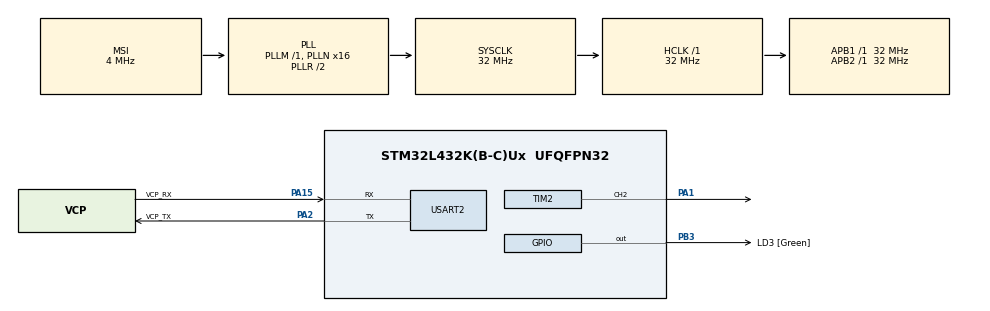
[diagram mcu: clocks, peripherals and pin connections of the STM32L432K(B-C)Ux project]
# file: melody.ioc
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Mcu.Family=STM32L4
Mcu.Name=STM32L432K(B-C)Ux
Mcu.Package=UFQFPN32
NVIC.PriorityGroup=NVIC_PRIORITYGROUP_4
PA0.GPIO_Label=MCO [High speed clock in]
PA0.Mode=HSE-External-Clock-Source-for-LittleOrca
PA0.Signal=RCC_CK_IN
PA1.Signal=S_TIM2_CH2
PA13\ (JTMS-SWDIO).GPIO_Label=SWDIO
PA13\ (JTMS-SWDIO).Mode=Serial_Wire
PA13\ (JTMS-SWDIO).Signal=SYS_JTMS-SWDIO
PA14\ (JTCK-SWCLK).GPIO_Label=SWCLK
PA14\ (JTCK-SWCLK).Mode=Serial_Wire
PA14\ (JTCK-SWCLK).Signal=SYS_JTCK-SWCLK
PA15\ (JTDI).GPIO_Label=VCP_RX
PA15\ (JTDI).Mode=Asynchronous
PA15\ (JTDI).Signal=USART2_RX
PA2.GPIO_Label=VCP_TX
PA2.Mode=Asynchronous
PA2.Signal=USART2_TX
PB3\ (JTDO-TRACESWO).GPIO_Label=LD3 [Green]
PB3\ (JTDO-TRACESWO).Signal=GPIO_Output
PC14-OSC32_IN\ (PC14).Mode=LSE-External-Oscillator
PC14-OSC32_IN\ (PC14).Signal=RCC_OSC32_IN
PC15-OSC32_OUT\ (PC15).Mode=LSE-External-Oscillator
PC15-OSC32_OUT\ (PC15).Signal=RCC_OSC32_OUT
ProjectManager.HeapSize=0x200
ProjectManager.StackSize=0x400
ProjectManager.TargetToolchain=Makefile
RCC.AHBFreq_Value=32000000
RCC.APB1Freq_Value=32000000
RCC.APB1TimFreq_Value=32000000
RCC.APB2Freq_Value=32000000
RCC.APB2TimFreq_Value=32000000
RCC.CortexFreq_Value=32000000
RCC.HCLKFreq_Value=32000000
RCC.HSE_VALUE=8000000
RCC.HSI16_VALUE=16000000
RCC.HSI48_VALUE=48000000
RCC.HSI_VALUE=16000000
RCC.MSI_VALUE=4000000
RCC.PLLMUL=RCC_PLLMUL_4
RCC.PLLN=16
RCC.SYSCLKFreq_VALUE=32000000
RCC.SYSCLKSource=RCC_SYSCLKSOURCE_PLLCLK
RCC.VCOOutputFreq_Value=64000000
SH.S_TIM2_CH2.0=TIM2_CH2,PWM Generation2 CH2
TIM2.Channel-PWM\ Generation2\ CH2=TIM_CHANNEL_2
TIM2.Period=0
TIM2.Prescaler=0
TIM2.Pulse-PWM\ Generation2\ CH2=0
USART2.VirtualMode-Asynchronous=VM_ASYNC
board=NUCLEO-L432KC

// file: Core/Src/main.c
/* USER CODE BEGIN Header */
/**
  ******************************************************************************
  * @file           : main.c
  * @brief          : Main program body
  ******************************************************************************
  * @attention
  *
  * <h2><center>&copy; Copyright (c) 2021 STMicroelectronics.
  * All rights reserved.</center></h2>
  *
  * This software component is licensed by ST under BSD 3-Clause license,
  * the "License"; You may not use this file except in compliance with the
  * License. You may obtain a copy of the License at:
  *                        opensource.org/licenses/BSD-3-Clause
  *
  ******************************************************************************
  */
/* USER CODE END Header */
#include "main.h"

/* USER CODE BEGIN PD */
#define NOTE_C3 131
#define NOTE_C3_S 138
#define NOTE_D3 147
#define NOTE_D3_S 155
#define NOTE_E3 165
#define NOTE_F3 174
#define NOTE_F3_S 185
#define NOTE_G3 196
#define NOTE_G3_S 207
#define NOTE_A3 220
#define NOTE_A3_S 233
#define NOTE_H3 247
#define NOTE_C4 261
#define NOTE_C4_S 277
#define NOTE_D4 293
#define NOTE_D4_S 311
#define NOTE_E4 329
#define NOTE_F4 349
#define NOTE_F4_S 370
#define NOTE_G4 392
#define NOTE_G4_S 415
#define NOTE_A4 440
#define NOTE_A4_S 466
#define NOTE_H4 494
#define NOTE_C5 523
#define NOTE_C5_S 554
#define NOTE_D5 587
#define NOTE_D5_S 622
#define NOTE_E5 659
#define NOTE_F5 698
#define NOTE_F5_S 740
#define NOTE_G5 784
#define NOTE_G5_S 830
#define NOTE_A5 880
#define NOTE_A5_S 932
#define NOTE_H5 988

/* USER CODE END PD */

TIM_HandleTypeDef htim2;

UART_HandleTypeDef huart2;

/* USER CODE BEGIN PV */
int clock = 32000000;
int frequency;
int ACC;
int CCR;
int note;
int rythm;
int tempo;
int wholenote;
int divide;
int duration;
/* USER CODE END PV */

void SystemClock_Config(void);
static void MX_GPIO_Init(void);
static void MX_TIM2_Init(void);
static void MX_USART2_UART_Init(void);

/* USER CODE BEGIN 0 */
void frequency_change(int note) {
  ACC = clock/note;
  CCR = ACC/2;
  __HAL_TIM_SET_COUNTER(&htim2, 0);
  __HAL_TIM_SET_AUTORELOAD(&htim2, ACC);
  __HAL_TIM_SET_COMPARE(&htim2, TIM_CHANNEL_2, CCR);
};

void play_note(int rythm) {
  wholenote = 240000 / tempo;
  if(rythm <= 16 && rythm >= 0){
    duration = wholenote / rythm;
  }else if(rythm < 0){
    duration = wholenote / abs(rythm);
    duration *= 1.5;
  }else{
    duration = wholenote * 10 / rythm;
    duration *= 0.5;
  }
  HAL_TIM_PWM_Start(&htim2, TIM_CHANNEL_2);
  HAL_Delay(duration*0.9);
  HAL_TIM_PWM_Stop(&htim2, TIM_CHANNEL_2);
  HAL_Delay(duration);
};

void play(int note, int rythm){
	frequency_change(note);
	play_note(rythm);
};

void godfather(){
  tempo = 100;

  play(NOTE_E4, 8);
	play(NOTE_A4, 8);
	play(NOTE_C5, 8);
  play(NOTE_H4, 8);
	play(NOTE_A4, 8);
	play(NOTE_C5, 8);
  play(NOTE_A4, 8);
  play(NOTE_H4, 8);
  play(NOTE_A4, 8);
  play(NOTE_F4, 8);
  play(NOTE_G4, 8);
  play(NOTE_E4, 8);
  play(0, 6);
  play(NOTE_E4, 8);
  play(NOTE_A4, 8);
  play(NOTE_C5, 8);
  play(NOTE_H4, 8);
  play(NOTE_A4, 8);
  play(NOTE_C5, 8);
  play(NOTE_A4, 8);
  play(NOTE_C5, 8);
  play(NOTE_A4, 8);
  play(NOTE_E4, 8);
  play(NOTE_D4_S, 8);

  play(NOTE_D4, 8);
  play(NOTE_D4, 8);
  play(NOTE_F4, 8);
  play(NOTE_G4_S, 8);
  play(NOTE_H4, 8);
  play(NOTE_D4, 8);
  play(NOTE_F4, 8);
  play(NOTE_G4_S, 8);
  play(NOTE_A4, 8);
  play(NOTE_C4, 8);
  play(NOTE_C4, 8);
  play(NOTE_G4, 8);
  play(NOTE_F4, 8);
  play(NOTE_E4, 8);
  play(NOTE_G4, 8);
  play(NOTE_F4, 8);
  play(NOTE_F4, 8);
  play(NOTE_E4, 8);
  play(NOTE_E4, 8);
  play(NOTE_G4_S, 8);

  play(NOTE_A4, 8);

}

void monkey_island(){
  tempo = 120;
  play(NOTE_H4,4);
  play(NOTE_H4,40);
  play(NOTE_D5,40);
  play(NOTE_C5_S,40);
  play(NOTE_H4,40);
  play(NOTE_A4,4);
  play(NOTE_H4,-1);
  play(NOTE_A4,4);
  play(NOTE_A4,40);
  play(NOTE_G4,40);
  play(NOTE_F4_S,40);
  play(NOTE_A4,40);
  play(NOTE_G4,4);
  play(NOTE_G4,4);
  play(NOTE_F4_S,-2);
  play(NOTE_H4,4);
  play(NOTE_H4,-4);
  play(NOTE_D5,8);
  play(NOTE_C5_S,40);
  play(NOTE_H4,40);
  play(NOTE_A4,4);
  play(NOTE_H4,-2);
  play(0,8);
  play(NOTE_C5_S,8);
  play(NOTE_D5,4);
  play(NOTE_D5,4);
  play(NOTE_E5,2);

  play(NOTE_C5_S,-4);
  play(NOTE_D5,8);
  play(NOTE_C5_S,40);
  play(NOTE_H4,40);
  play(NOTE_A4,40);
  play(NOTE_C5_S,40);
  play(NOTE_D5,4);
  play(NOTE_D5,4);
  play(NOTE_C5_S,2);
  play(NOTE_H4,-4);
  play(NOTE_D5,8);
  play(NOTE_C5_S,40);
  play(NOTE_H4,40);
  play(NOTE_A4,40);
  play(NOTE_C5_S,40);
  play(NOTE_D5,4);
  play(NOTE_D5,4);
  play(NOTE_C5_S,2);
  play(NOTE_H4,-4);
  play(NOTE_D5,8);
  play(NOTE_C5_S,40);
  play(NOTE_H4,40);
  play(NOTE_A4,40);
  play(NOTE_C5_S,40);
  play(NOTE_D5,4);
  play(NOTE_D5,4);
  play(NOTE_C5_S,2);
  play(NOTE_H4,-4);
  play(NOTE_D5,8);
  play(NOTE_C5_S,40);
  play(NOTE_H4,40);
  play(NOTE_A4,4);
  play(NOTE_H4,4);
  play(NOTE_H4,4);
  play(NOTE_H4,2);
  play(NOTE_H4,-2);
  play(NOTE_H4,8);
  play(NOTE_A4,40);
  play(NOTE_G4,40);
  play(NOTE_F4_S,40);
  play(NOTE_A4,40);

  play(NOTE_G4,4);
  play(NOTE_G4,4);
  play(NOTE_F4_S,2);
  play(NOTE_F4_S,1);
  play(0,1);
  play(NOTE_F4_S,4);
  play(NOTE_A4,4);
  play(NOTE_H4,4);
  play(NOTE_D5,4);
  play(NOTE_D5,2);
  play(NOTE_G5,40);
  play(NOTE_F5_S,40);
  play(NOTE_E5,40);
  play(NOTE_G5,40);
  play(NOTE_F5_S,4);
  play(NOTE_D5,4);
  play(NOTE_D5,2);
  play(0,8);
  play(NOTE_D5,-4);
  play(NOTE_E5,4);
  play(NOTE_A4,4);

  play(NOTE_A4,-4);
  play(NOTE_E5,8);
  play(NOTE_F5_S,40);
  play(NOTE_E5,40);
  play(NOTE_D5,40);
  play(NOTE_E5,40);
  play(NOTE_F5_S,4);
  play(NOTE_D5,4);
  play(NOTE_D5,4);
  play(NOTE_H4,4);
  play(NOTE_H4,2);
  play(NOTE_C5_S,4);
  play(NOTE_D5,4);
  play(NOTE_E5,1);
  play(NOTE_E5,2);
  play(NOTE_E5,2);
  play(NOTE_H4,1);
  play(NOTE_H4,2);

};

void imperial_march() {
  tempo = 120;
	play(NOTE_A4, 6);
	play(NOTE_A4, 6);
	play(NOTE_A4, 16);
  play(NOTE_A4, 16);
	play(NOTE_A4, 16);
	play(NOTE_A4, 16);
  play(NOTE_F4, 8);
  play(0, 8);
	play(NOTE_A4, 6);
	play(NOTE_A4, 6);
	play(NOTE_A4, 16);
  play(NOTE_A4, 16);
	play(NOTE_A4, 16);
	play(NOTE_A4, 16);
  play(NOTE_F4, 8);
  play(0, 8);
  play(NOTE_A4, 4);
  play(NOTE_A4, 4);
  play(NOTE_A4, 4);
  play(NOTE_F4, 12);
  play(NOTE_C5, 16);

  play(NOTE_A4, 4);
  play(NOTE_F4, 12);
  play(NOTE_C5, 16);
  play(NOTE_A4, 2);
  play(NOTE_E5, 4);
  play(NOTE_E5, 4);
  play(NOTE_E5, 4);
  play(NOTE_F5, 12);
  play(NOTE_C5, 16);
  play(NOTE_A4, 4);
  play(NOTE_F4, 12);
  play(NOTE_C5, 16);
  play(NOTE_A4, 2);

  play(NOTE_A5, 4);
  play(NOTE_A4, 12);
  play(NOTE_A4, 16);
  play(NOTE_A5, 4);
  play(NOTE_G5_S, 12);
  play(NOTE_G5, 16);
  play(NOTE_D5_S, 16);
  play(NOTE_D5, 16);
  play(NOTE_D5_S, 8);
  play(0, 8);
  play(NOTE_A4, 8);
  play(NOTE_D5_S, 4);
  play(NOTE_D5, 12);
  play(NOTE_C5_S, 16);

  play(NOTE_C5, 16);
  play(NOTE_H4, 16);
  play(NOTE_C5, 16);
  play(0, 8);
  play(NOTE_F4, 8);
  play(NOTE_G4_S, 4);
  play(NOTE_F4, 12);
  play(NOTE_A4, 24);
  play(NOTE_C5, 4);
  play(NOTE_A4, 12);
  play(NOTE_C5, 16);
  play(NOTE_E5, 2);

  play(NOTE_A5, 4);
  play(NOTE_A4, 12);
  play(NOTE_A4, 16);
  play(NOTE_A5, 4);
  play(NOTE_G5_S, 12);
  play(NOTE_G5, 16);
  play(NOTE_D5_S, 16);
  play(NOTE_D5, 16);
  play(NOTE_D5_S, 8);
  play(0, 8);
  play(NOTE_A4, 8);
  play(NOTE_D5_S, 4);
  play(NOTE_D5, 12);
  play(NOTE_C5_S, 16);

  play(NOTE_C5, 16);
  play(NOTE_H4, 16);
  play(NOTE_C5, 16);
  play(0, 8);
  play(NOTE_F4, 8);
  play(NOTE_G4_S, 4);
  play(NOTE_F4, 12);
  play(NOTE_A4, 24);
  play(NOTE_C5, 4);
  play(NOTE_A4, 12);
  play(NOTE_C5, 16);
  play(NOTE_E5, 2);

};

/* USER CODE END 0 */

int main(void)
{

  /* MCU Configuration--------------------------------------------------------*/

  /* Reset of all peripherals, Initializes the Flash interface and the Systick. */
  HAL_Init();

  /* Configure the system clock */
  SystemClock_Config();

  /* Initialize all configured peripherals */
  MX_GPIO_Init();
  MX_TIM2_Init();
  MX_USART2_UART_Init();

  /* Infinite loop */
  /* USER CODE BEGIN WHILE */
  while (1)
  {
	  imperial_march();

    /* USER CODE END WHILE */

  }
}

void SystemClock_Config(void)
{
  RCC_OscInitTypeDef RCC_OscInitStruct = {0};
  RCC_ClkInitTypeDef RCC_ClkInitStruct = {0};

  /** Configure the main internal regulator output voltage
  */
  if (HAL_PWREx_ControlVoltageScaling(PWR_REGULATOR_VOLTAGE_SCALE1) != HAL_OK)
  {
    Error_Handler();
  }

  /** Configure LSE Drive Capability
  */
  HAL_PWR_EnableBkUpAccess();
  __HAL_RCC_LSEDRIVE_CONFIG(RCC_LSEDRIVE_LOW);

  /** Initializes the RCC Oscillators according to the specified parameters
  * in the RCC_OscInitTypeDef structure.
  */
  RCC_OscInitStruct.OscillatorType = RCC_OSCILLATORTYPE_LSE|RCC_OSCILLATORTYPE_MSI;
  RCC_OscInitStruct.LSEState = RCC_LSE_ON;
  RCC_OscInitStruct.MSIState = RCC_MSI_ON;
  RCC_OscInitStruct.MSICalibrationValue = 0;
  RCC_OscInitStruct.MSIClockRange = RCC_MSIRANGE_6;
  RCC_OscInitStruct.PLL.PLLState = RCC_PLL_ON;
  RCC_OscInitStruct.PLL.PLLSource = RCC_PLLSOURCE_MSI;
  RCC_OscInitStruct.PLL.PLLM = 1;
  RCC_OscInitStruct.PLL.PLLN = 16;
  RCC_OscInitStruct.PLL.PLLP = RCC_PLLP_DIV7;
  RCC_OscInitStruct.PLL.PLLQ = RCC_PLLQ_DIV2;
  RCC_OscInitStruct.PLL.PLLR = RCC_PLLR_DIV2;
  if (HAL_RCC_OscConfig(&RCC_OscInitStruct) != HAL_OK)
  {
    Error_Handler();
  }

  /** Initializes the CPU, AHB and APB buses clocks
  */
  RCC_ClkInitStruct.ClockType = RCC_CLOCKTYPE_HCLK|RCC_CLOCKTYPE_SYSCLK
                              |RCC_CLOCKTYPE_PCLK1|RCC_CLOCKTYPE_PCLK2;
  RCC_ClkInitStruct.SYSCLKSource = RCC_SYSCLKSOURCE_PLLCLK;
  RCC_ClkInitStruct.AHBCLKDivider = RCC_SYSCLK_DIV1;
  RCC_ClkInitStruct.APB1CLKDivider = RCC_HCLK_DIV1;
  RCC_ClkInitStruct.APB2CLKDivider = RCC_HCLK_DIV1;

  if (HAL_RCC_ClockConfig(&RCC_ClkInitStruct, FLASH_LATENCY_1) != HAL_OK)
  {
    Error_Handler();
  }

  /** Enable MSI Auto calibration
  */
  HAL_RCCEx_EnableMSIPLLMode();
}

static void MX_TIM2_Init(void)
{

  TIM_MasterConfigTypeDef sMasterConfig = {0};
  TIM_OC_InitTypeDef sConfigOC = {0};

  htim2.Instance = TIM2;
  htim2.Init.Prescaler = 0;
  htim2.Init.CounterMode = TIM_COUNTERMODE_UP;
  htim2.Init.Period = 0;
  htim2.Init.ClockDivision = TIM_CLOCKDIVISION_DIV1;
  htim2.Init.AutoReloadPreload = TIM_AUTORELOAD_PRELOAD_DISABLE;
  if (HAL_TIM_PWM_Init(&htim2) != HAL_OK)
  {
    Error_Handler();
  }
  sMasterConfig.MasterOutputTrigger = TIM_TRGO_RESET;
  sMasterConfig.MasterSlaveMode = TIM_MASTERSLAVEMODE_DISABLE;
  if (HAL_TIMEx_MasterConfigSynchronization(&htim2, &sMasterConfig) != HAL_OK)
  {
    Error_Handler();
  }
  sConfigOC.OCMode = TIM_OCMODE_PWM1;
  sConfigOC.Pulse = 0;
  sConfigOC.OCPolarity = TIM_OCPOLARITY_HIGH;
  sConfigOC.OCFastMode = TIM_OCFAST_DISABLE;
  if (HAL_TIM_PWM_ConfigChannel(&htim2, &sConfigOC, TIM_CHANNEL_2) != HAL_OK)
  {
    Error_Handler();
  }
  HAL_TIM_MspPostInit(&htim2);

}

static void MX_USART2_UART_Init(void)
{

  huart2.Instance = USART2;
  huart2.Init.BaudRate = 115200;
  huart2.Init.WordLength = UART_WORDLENGTH_8B;
  huart2.Init.StopBits = UART_STOPBITS_1;
  huart2.Init.Parity = UART_PARITY_NONE;
  huart2.Init.Mode = UART_MODE_TX_RX;
  huart2.Init.HwFlowCtl = UART_HWCONTROL_NONE;
  huart2.Init.OverSampling = UART_OVERSAMPLING_16;
  huart2.Init.OneBitSampling = UART_ONE_BIT_SAMPLE_DISABLE;
  huart2.AdvancedInit.AdvFeatureInit = UART_ADVFEATURE_NO_INIT;
  if (HAL_UART_Init(&huart2) != HAL_OK)
  {
    Error_Handler();
  }

}

static void MX_GPIO_Init(void)
{
  GPIO_InitTypeDef GPIO_InitStruct = {0};

  /* GPIO Ports Clock Enable */
  __HAL_RCC_GPIOC_CLK_ENABLE();
  __HAL_RCC_GPIOA_CLK_ENABLE();
  __HAL_RCC_GPIOB_CLK_ENABLE();

  /*Configure GPIO pin Output Level */
  HAL_GPIO_WritePin(LD3_GPIO_Port, LD3_Pin, GPIO_PIN_RESET);

  /*Configure GPIO pin : LD3_Pin */
  GPIO_InitStruct.Pin = LD3_Pin;
  GPIO_InitStruct.Mode = GPIO_MODE_OUTPUT_PP;
  GPIO_InitStruct.Pull = GPIO_NOPULL;
  GPIO_InitStruct.Speed = GPIO_SPEED_FREQ_LOW;
  HAL_GPIO_Init(LD3_GPIO_Port, &GPIO_InitStruct);

}

void Error_Handler(void)
{
  __disable_irq();
  while (1)
  {
  }
}
